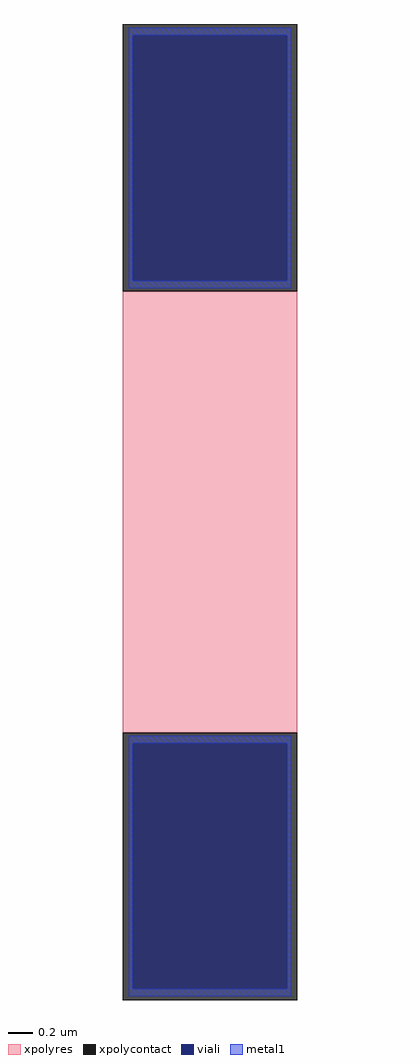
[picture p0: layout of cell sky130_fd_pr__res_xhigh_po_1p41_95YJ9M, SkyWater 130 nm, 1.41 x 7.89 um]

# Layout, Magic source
magic
tech sky130A
magscale 1 2
<< xpolycontact >>
rect -141 357 141 789
rect -141 -789 141 -357
<< xpolyres >>
rect -141 -357 141 357
<< viali >>
rect -125 374 125 771
rect -125 -771 125 -374
<< metal1 >>
rect -131 771 131 783
rect -131 374 -125 771
rect 125 374 131 771
rect -131 362 131 374
rect -131 -374 131 -362
rect -131 -771 -125 -374
rect 125 -771 131 -374
rect -131 -783 131 -771
<< properties >>
string gencell sky130_fd_pr__res_xhigh_po_1p41
string library sky130
string parameters w 1.410 l 3.731 m 1 nx 1 wmin 1.410 lmin 0.50 rho 2000 val 5.559k dummy 0 dw 0.0 term 188.2 sterm 0.0 caplen 0 wmax 1.410 guard 0 glc 1 grc 1 gtc 1 gbc 1 compatible {sky130_fd_pr__res_xhigh_po_0p35  sky130_fd_pr__res_xhigh_po_0p69 sky130_fd_pr__res_xhigh_po_1p41  sky130_fd_pr__res_xhigh_po_2p85 sky130_fd_pr__res_xhigh_po_5p73} snake 0 full_metal 1 n_guard 0 hv_guard 0 vias 1 viagb 0 viagt 0 viagl 0 viagr 0
<< end >>
